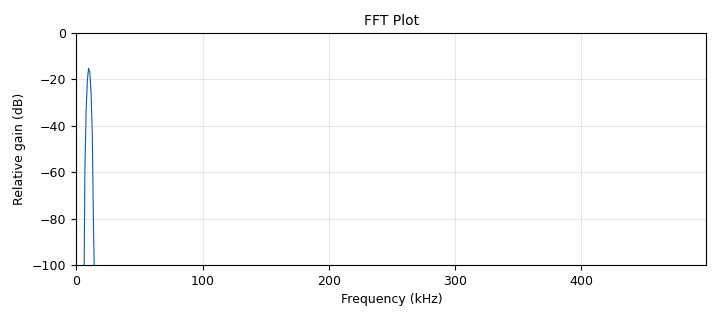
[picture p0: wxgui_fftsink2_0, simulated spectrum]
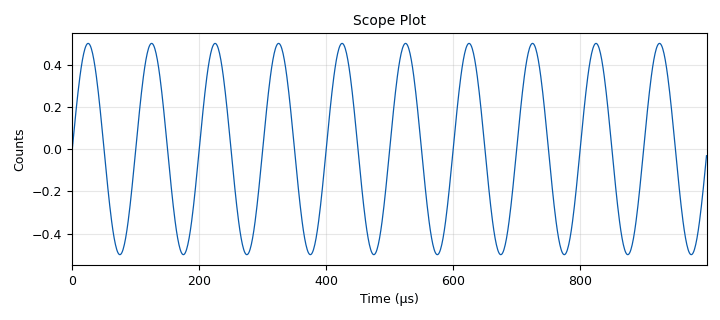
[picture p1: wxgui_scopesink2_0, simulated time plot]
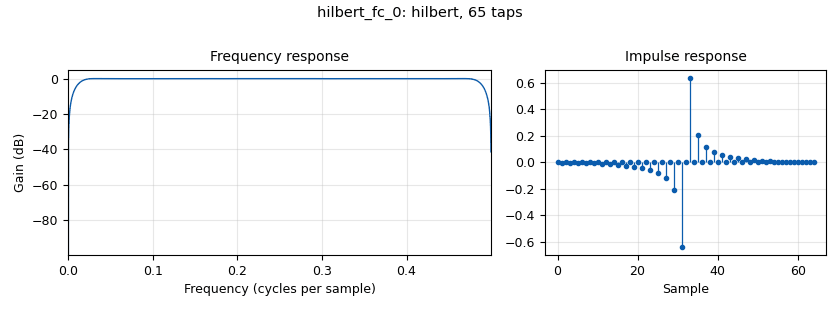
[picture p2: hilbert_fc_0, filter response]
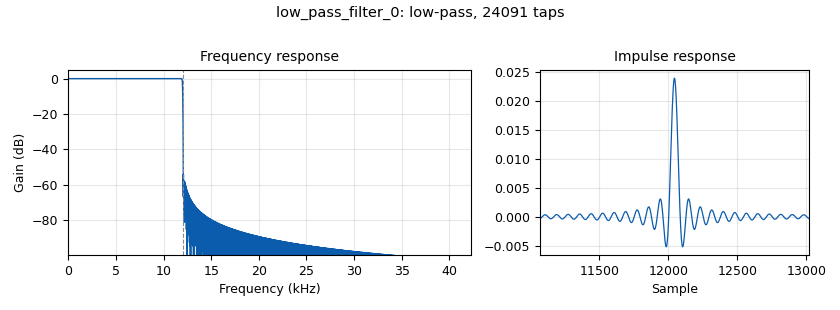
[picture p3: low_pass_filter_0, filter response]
<?xml version='1.0' encoding='utf-8'?>
<?grc format='1' created='3.7.9'?>
<flow_graph>
<block>
<key>options</key>
<param><key>id</key><value>top_block</value></param>
<param><key>category</key><value>Custom</value></param>
<param><key>generate_options</key><value>wx_gui</value></param>
</block>
<block>
<key>variable</key>
<param><key>id</key><value>samp_rate</value></param>
<param><key>value</key><value>1000000</value></param>
</block>
<block>
<key>analog_sig_source_x</key>
<param><key>id</key><value>Carrier</value></param>
<param><key>amp</key><value>1</value></param>
<param><key>freq</key><value>100000</value></param>
<param><key>offset</key><value>0</value></param>
<param><key>type</key><value>float</value></param>
<param><key>samp_rate</key><value>samp_rate</value></param>
<param><key>waveform</key><value>analog.GR_COS_WAVE</value></param>
</block>
<block>
<key>analog_sig_source_x</key>
<param><key>id</key><value>analog_sig_source_x_0</value></param>
<param><key>amp</key><value>1</value></param>
<param><key>freq</key><value>100000</value></param>
<param><key>offset</key><value>0</value></param>
<param><key>type</key><value>float</value></param>
<param><key>samp_rate</key><value>samp_rate</value></param>
<param><key>waveform</key><value>analog.GR_COS_WAVE</value></param>
</block>
<block>
<key>blocks_complex_to_float</key>
<param><key>id</key><value>blocks_complex_to_float_0</value></param>
</block>
<block>
<key>blocks_multiply_xx</key>
<param><key>id</key><value>blocks_multiply_xx_0</value></param>
<param><key>type</key><value>float</value></param>
</block>
<block>
<key>blocks_multiply_xx</key>
<param><key>id</key><value>blocks_multiply_xx_1</value></param>
<param><key>type</key><value>float</value></param>
</block>
<block>
<key>blocks_throttle</key>
<param><key>id</key><value>blocks_throttle_1</value></param>
<param><key>samples_per_second</key><value>samp_rate</value></param>
<param><key>type</key><value>float</value></param>
</block>
<block>
<key>hilbert_fc</key>
<param><key>id</key><value>hilbert_fc_0</value></param>
<param><key>num_taps</key><value>65</value></param>
<param><key>win</key><value>firdes.WIN_HAMMING</value></param>
</block>
<block>
<key>low_pass_filter</key>
<param><key>id</key><value>low_pass_filter_0</value></param>
<param><key>cutoff_freq</key><value>12000</value></param>
<param><key>decim</key><value>1</value></param>
<param><key>type</key><value>fir_filter_fff</value></param>
<param><key>gain</key><value>1</value></param>
<param><key>samp_rate</key><value>samp_rate</value></param>
<param><key>width</key><value>100</value></param>
<param><key>win</key><value>firdes.WIN_HAMMING</value></param>
</block>
<block>
<key>analog_sig_source_x</key>
<param><key>id</key><value>message</value></param>
<param><key>amp</key><value>1</value></param>
<param><key>freq</key><value>10000</value></param>
<param><key>offset</key><value>0</value></param>
<param><key>type</key><value>float</value></param>
<param><key>samp_rate</key><value>samp_rate</value></param>
<param><key>waveform</key><value>analog.GR_COS_WAVE</value></param>
</block>
<block>
<key>notebook</key>
<param><key>id</key><value>n</value></param>
<param><key>labels</key><value>['demodulated','FFT']</value></param>
<param><key>style</key><value>wx.NB_TOP</value></param>
</block>
<block>
<key>wxgui_fftsink2</key>
<param><key>id</key><value>wxgui_fftsink2_0</value></param>
<param><key>avg_alpha</key><value>0</value></param>
<param><key>average</key><value>False</value></param>
<param><key>baseband_freq</key><value>0</value></param>
<param><key>fft_size</key><value>1024</value></param>
<param><key>freqvar</key><value>None</value></param>
<param><key>notebook</key><value>n,1</value></param>
<param><key>peak_hold</key><value>False</value></param>
<param><key>ref_level</key><value>0</value></param>
<param><key>ref_scale</key><value>2.0</value></param>
<param><key>fft_rate</key><value>15</value></param>
<param><key>samp_rate</key><value>samp_rate</value></param>
<param><key>title</key><value>FFT Plot</value></param>
<param><key>type</key><value>float</value></param>
<param><key>win</key><value>None</value></param>
<param><key>y_divs</key><value>10</value></param>
<param><key>y_per_div</key><value>10</value></param>
</block>
<block>
<key>wxgui_scopesink2</key>
<param><key>id</key><value>wxgui_scopesink2_0</value></param>
<param><key>ac_couple</key><value>False</value></param>
<param><key>notebook</key><value>n,0</value></param>
<param><key>num_inputs</key><value>1</value></param>
<param><key>samp_rate</key><value>samp_rate</value></param>
<param><key>t_scale</key><value>0</value></param>
<param><key>title</key><value>Scope Plot</value></param>
<param><key>trig_mode</key><value>wxgui.TRIG_MODE_NORM</value></param>
<param><key>type</key><value>float</value></param>
<param><key>v_offset</key><value>0</value></param>
<param><key>v_scale</key><value>0</value></param>
<param><key>xy_mode</key><value>False</value></param>
<param><key>y_axis_label</key><value>Counts</value></param>
</block>
<connection><source_block_id>Carrier</source_block_id><sink_block_id>blocks_multiply_xx_0</sink_block_id><source_key>0</source_key><sink_key>1</sink_key></connection>
<connection><source_block_id>analog_sig_source_x_0</source_block_id><sink_block_id>blocks_multiply_xx_1</sink_block_id><source_key>0</source_key><sink_key>1</sink_key></connection>
<connection><source_block_id>blocks_complex_to_float_0</source_block_id><sink_block_id>blocks_multiply_xx_0</sink_block_id><source_key>0</source_key><sink_key>0</sink_key></connection>
<connection><source_block_id>blocks_multiply_xx_0</source_block_id><sink_block_id>blocks_multiply_xx_1</sink_block_id><source_key>0</source_key><sink_key>0</sink_key></connection>
<connection><source_block_id>blocks_multiply_xx_1</source_block_id><sink_block_id>low_pass_filter_0</sink_block_id><source_key>0</source_key><sink_key>0</sink_key></connection>
<connection><source_block_id>blocks_throttle_1</source_block_id><sink_block_id>wxgui_fftsink2_0</sink_block_id><source_key>0</source_key><sink_key>0</sink_key></connection>
<connection><source_block_id>blocks_throttle_1</source_block_id><sink_block_id>wxgui_scopesink2_0</sink_block_id><source_key>0</source_key><sink_key>0</sink_key></connection>
<connection><source_block_id>hilbert_fc_0</source_block_id><sink_block_id>blocks_complex_to_float_0</sink_block_id><source_key>0</source_key><sink_key>0</sink_key></connection>
<connection><source_block_id>low_pass_filter_0</source_block_id><sink_block_id>blocks_throttle_1</sink_block_id><source_key>0</source_key><sink_key>0</sink_key></connection>
<connection><source_block_id>message</source_block_id><sink_block_id>hilbert_fc_0</sink_block_id><source_key>0</source_key><sink_key>0</sink_key></connection>
</flow_graph>
